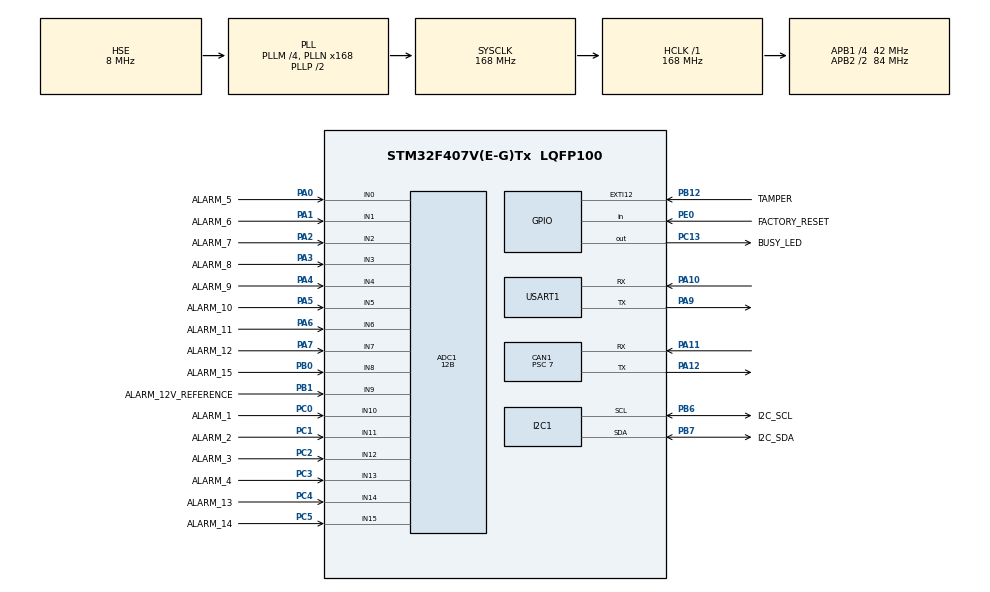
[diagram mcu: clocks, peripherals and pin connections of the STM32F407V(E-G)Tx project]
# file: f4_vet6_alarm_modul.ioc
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ADC1.Channel-0\#ChannelRegularConversion=ADC_CHANNEL_9
ADC1.Channel-1\#ChannelRegularConversion=ADC_CHANNEL_10
ADC1.Channel-10\#ChannelRegularConversion=ADC_CHANNEL_5
ADC1.Channel-11\#ChannelRegularConversion=ADC_CHANNEL_6
ADC1.Channel-12\#ChannelRegularConversion=ADC_CHANNEL_7
ADC1.Channel-13\#ChannelRegularConversion=ADC_CHANNEL_14
ADC1.Channel-14\#ChannelRegularConversion=ADC_CHANNEL_15
ADC1.Channel-15\#ChannelRegularConversion=ADC_CHANNEL_8
ADC1.Channel-2\#ChannelRegularConversion=ADC_CHANNEL_11
ADC1.Channel-3\#ChannelRegularConversion=ADC_CHANNEL_12
ADC1.Channel-4\#ChannelRegularConversion=ADC_CHANNEL_13
ADC1.Channel-5\#ChannelRegularConversion=ADC_CHANNEL_0
ADC1.Channel-6\#ChannelRegularConversion=ADC_CHANNEL_1
ADC1.Channel-7\#ChannelRegularConversion=ADC_CHANNEL_2
ADC1.Channel-8\#ChannelRegularConversion=ADC_CHANNEL_3
ADC1.Channel-9\#ChannelRegularConversion=ADC_CHANNEL_4
ADC1.ClockPrescaler=ADC_CLOCK_SYNC_PCLK_DIV4
ADC1.ContinuousConvMode=DISABLE
ADC1.DMAContinuousRequests=ENABLE
ADC1.DataAlign=ADC_DATAALIGN_RIGHT
ADC1.DiscontinuousConvMode=DISABLE
ADC1.EOCSelection=ADC_EOC_SINGLE_CONV
ADC1.EnableAnalogWatchDog=false
ADC1.ExternalTrigConv=ADC_EXTERNALTRIGCONV_T8_TRGO
ADC1.ExternalTrigConvEdge=ADC_EXTERNALTRIGCONVEDGE_RISING
ADC1.InjNumberOfConversion=0
ADC1.NbrOfConversion=16
ADC1.NbrOfConversionFlag=1
ADC1.Rank-0\#ChannelRegularConversion=1
ADC1.Rank-1\#ChannelRegularConversion=2
ADC1.Rank-10\#ChannelRegularConversion=11
ADC1.Rank-11\#ChannelRegularConversion=12
ADC1.Rank-12\#ChannelRegularConversion=13
ADC1.Rank-13\#ChannelRegularConversion=14
ADC1.Rank-14\#ChannelRegularConversion=15
ADC1.Rank-15\#ChannelRegularConversion=16
ADC1.Rank-2\#ChannelRegularConversion=3
ADC1.Rank-3\#ChannelRegularConversion=4
ADC1.Rank-4\#ChannelRegularConversion=5
ADC1.Rank-5\#ChannelRegularConversion=6
ADC1.Rank-6\#ChannelRegularConversion=7
ADC1.Rank-7\#ChannelRegularConversion=8
ADC1.Rank-8\#ChannelRegularConversion=9
ADC1.Rank-9\#ChannelRegularConversion=10
ADC1.Resolution=ADC_RESOLUTION_12B
ADC1.SamplingTime-0\#ChannelRegularConversion=ADC_SAMPLETIME_84CYCLES
ADC1.SamplingTime-1\#ChannelRegularConversion=ADC_SAMPLETIME_84CYCLES
ADC1.SamplingTime-10\#ChannelRegularConversion=ADC_SAMPLETIME_84CYCLES
ADC1.SamplingTime-11\#ChannelRegularConversion=ADC_SAMPLETIME_84CYCLES
ADC1.SamplingTime-12\#ChannelRegularConversion=ADC_SAMPLETIME_84CYCLES
ADC1.SamplingTime-13\#ChannelRegularConversion=ADC_SAMPLETIME_84CYCLES
ADC1.SamplingTime-14\#ChannelRegularConversion=ADC_SAMPLETIME_84CYCLES
ADC1.SamplingTime-15\#ChannelRegularConversion=ADC_SAMPLETIME_84CYCLES
ADC1.SamplingTime-2\#ChannelRegularConversion=ADC_SAMPLETIME_84CYCLES
ADC1.SamplingTime-3\#ChannelRegularConversion=ADC_SAMPLETIME_84CYCLES
ADC1.SamplingTime-4\#ChannelRegularConversion=ADC_SAMPLETIME_84CYCLES
ADC1.SamplingTime-5\#ChannelRegularConversion=ADC_SAMPLETIME_84CYCLES
ADC1.SamplingTime-6\#ChannelRegularConversion=ADC_SAMPLETIME_84CYCLES
ADC1.SamplingTime-7\#ChannelRegularConversion=ADC_SAMPLETIME_84CYCLES
ADC1.SamplingTime-8\#ChannelRegularConversion=ADC_SAMPLETIME_84CYCLES
ADC1.SamplingTime-9\#ChannelRegularConversion=ADC_SAMPLETIME_84CYCLES
ADC1.ScanConvMode=ENABLE
ADC1.master=1
CAN1.BS1=CAN_BS1_10TQ
CAN1.BS2=CAN_BS2_1TQ
CAN1.CalculateBaudRate=500000
CAN1.CalculateTimeBit=1999.99
CAN1.CalculateTimeQuantum=166.66666666666669
CAN1.Prescaler=7
Dma.ADC1.0.Direction=DMA_PERIPH_TO_MEMORY
Dma.ADC1.0.FIFOMode=DMA_FIFOMODE_DISABLE
Dma.ADC1.0.Instance=DMA2_Stream0
Dma.ADC1.0.MemDataAlignment=DMA_MDATAALIGN_HALFWORD
Dma.ADC1.0.MemInc=DMA_MINC_ENABLE
Dma.ADC1.0.Mode=DMA_CIRCULAR
Dma.ADC1.0.PeriphDataAlignment=DMA_PDATAALIGN_HALFWORD
Dma.ADC1.0.PeriphInc=DMA_PINC_DISABLE
Dma.ADC1.0.Priority=DMA_PRIORITY_HIGH
Dma.Request0=ADC1
FREERTOS.Queues01=CAN_SEND_QUEUE,40,CAN_OBJECT*,0,Dynamic,NULL,NULL;CAN_RECEIVE_QUEUE,40,RECEIVED_CAN_OBJECT,0,Dynamic,NULL,NULL
FREERTOS.Tasks01=canSendTask,2,128,StartCanSendTask,Default,NULL,Dynamic,NULL,NULL;adcTask,-3,128,StartAdcTask,Default,NULL,Dynamic,NULL,NULL;canReceiveTask,0,128,StartCanReceiveTask,Default,NULL,Dynamic,NULL,NULL;initTask,3,128,StartInitTask,Default,NULL,Dynamic,NULL,NULL;heartbeatTask,-3,128,StartHeartbeatTask,Default,NULL,Dynamic,NULL,NULL;tamperTask,-3,128,StartTamperTask,Default,NULL,Dynamic,NULL,NULL
FREERTOS.configTOTAL_HEAP_SIZE=25600
FREERTOS.configUSE_COUNTING_SEMAPHORES=1
FREERTOS.configUSE_TICKLESS_IDLE=1
Mcu.Family=STM32F4
Mcu.Name=STM32F407V(E-G)Tx
Mcu.Package=LQFP100
NVIC.ADC_IRQn=true\:5\:0\:false\:false\:true\:true\:true\:true
NVIC.CAN1_RX0_IRQn=true\:5\:0\:false\:false\:true\:true\:true\:true
NVIC.CAN1_TX_IRQn=true\:5\:0\:false\:false\:true\:true\:true\:true
NVIC.DMA2_Stream0_IRQn=true\:5\:0\:false\:false\:true\:true\:true\:true
NVIC.EXTI15_10_IRQn=true\:5\:0\:false\:false\:true\:true\:true\:true
NVIC.PriorityGroup=NVIC_PRIORITYGROUP_4
NVIC.TIM1_UP_TIM10_IRQn=true\:0\:0\:false\:false\:true\:false\:true\:true
NVIC.TimeBase=TIM1_UP_TIM10_IRQn
NVIC.TimeBaseIP=TIM1
PA0-WKUP.GPIO_Label=ALARM_5
PA0-WKUP.Signal=ADCx_IN0
PA1.GPIO_Label=ALARM_6
PA1.Signal=ADCx_IN1
PA10.Mode=Asynchronous
PA10.Signal=USART1_RX
PA11.Mode=CAN_Activate
PA11.Signal=CAN1_RX
PA12.Mode=CAN_Activate
PA12.Signal=CAN1_TX
PA13.Mode=Serial_Wire
PA13.Signal=SYS_JTMS-SWDIO
PA14.Mode=Serial_Wire
PA14.Signal=SYS_JTCK-SWCLK
PA2.GPIO_Label=ALARM_7
PA2.Signal=ADCx_IN2
PA3.GPIO_Label=ALARM_8
PA3.Signal=ADCx_IN3
PA4.GPIO_Label=ALARM_9
PA4.Signal=ADCx_IN4
PA5.GPIO_Label=ALARM_10
PA5.Signal=ADCx_IN5
PA6.GPIO_Label=ALARM_11
PA6.Signal=ADCx_IN6
PA7.GPIO_Label=ALARM_12
PA7.Signal=ADCx_IN7
PA9.Mode=Asynchronous
PA9.Signal=USART1_TX
PB0.GPIO_Label=ALARM_15
PB0.Signal=ADCx_IN8
PB1.GPIO_Label=ALARM_12V_REFERENCE
PB1.Signal=ADCx_IN9
PB12.GPIO_Label=TAMPER
PB12.GPIO_ModeDefaultEXTI=GPIO_MODE_IT_FALLING
PB12.Signal=GPXTI12
PB6.GPIO_Label=I2C_SCL
PB6.Mode=I2C
PB6.Signal=I2C1_SCL
PB7.GPIO_Label=I2C_SDA
PB7.Mode=I2C
PB7.Signal=I2C1_SDA
PC0.GPIO_Label=ALARM_1
PC0.Signal=ADCx_IN10
PC1.GPIO_Label=ALARM_2
PC1.Signal=ADCx_IN11
PC13-ANTI_TAMP.GPIO_Label=BUSY_LED
PC13-ANTI_TAMP.Signal=GPIO_Output
PC2.GPIO_Label=ALARM_3
PC2.Signal=ADCx_IN12
PC3.GPIO_Label=ALARM_4
PC3.Signal=ADCx_IN13
PC4.GPIO_Label=ALARM_13
PC4.Signal=ADCx_IN14
PC5.GPIO_Label=ALARM_14
PC5.Signal=ADCx_IN15
PE0.GPIO_Label=FACTORY_RESET
PE0.Signal=GPIO_Input
PH0-OSC_IN.Mode=HSE-External-Oscillator
PH0-OSC_IN.Signal=RCC_OSC_IN
PH1-OSC_OUT.Mode=HSE-External-Oscillator
PH1-OSC_OUT.Signal=RCC_OSC_OUT
ProjectManager.HeapSize=0x200
ProjectManager.StackSize=0x400
ProjectManager.TargetToolchain=STM32CubeIDE
RCC.48MHZClocksFreq_Value=84000000
RCC.AHBFreq_Value=168000000
RCC.APB1CLKDivider=RCC_HCLK_DIV4
RCC.APB1Freq_Value=42000000
RCC.APB1TimFreq_Value=84000000
RCC.APB2CLKDivider=RCC_HCLK_DIV2
RCC.APB2Freq_Value=84000000
RCC.APB2TimFreq_Value=168000000
RCC.CortexFreq_Value=168000000
RCC.HCLKFreq_Value=168000000
RCC.HSE_VALUE=8000000
RCC.HSI_VALUE=16000000
RCC.LSE_VALUE=32768
RCC.PLLM=4
RCC.PLLN=168
RCC.PLLSourceVirtual=RCC_PLLSOURCE_HSE
RCC.RCC_RTC_Clock_Source=RCC_RTCCLKSOURCE_LSE
RCC.RCC_RTC_Clock_SourceVirtual=RCC_RTCCLKSOURCE_LSE
RCC.SYSCLKFreq_VALUE=168000000
RCC.SYSCLKSource=RCC_SYSCLKSOURCE_PLLCLK
RCC.VCOOutputFreq_Value=336000000
SH.ADCx_IN0.0=ADC1_IN0,IN0
SH.ADCx_IN1.0=ADC1_IN1,IN1
SH.ADCx_IN10.0=ADC1_IN10,IN10
SH.ADCx_IN11.0=ADC1_IN11,IN11
SH.ADCx_IN12.0=ADC1_IN12,IN12
SH.ADCx_IN13.0=ADC1_IN13,IN13
SH.ADCx_IN14.0=ADC1_IN14,IN14
SH.ADCx_IN15.0=ADC1_IN15,IN15
SH.ADCx_IN2.0=ADC1_IN2,IN2
SH.ADCx_IN3.0=ADC1_IN3,IN3
SH.ADCx_IN4.0=ADC1_IN4,IN4
SH.ADCx_IN5.0=ADC1_IN5,IN5
SH.ADCx_IN6.0=ADC1_IN6,IN6
SH.ADCx_IN7.0=ADC1_IN7,IN7
SH.ADCx_IN8.0=ADC1_IN8,IN8
SH.ADCx_IN9.0=ADC1_IN9,IN9
TIM8.Period=1050-1
TIM8.Prescaler=40000-1
TIM8.TIM_MasterOutputTrigger=TIM_TRGO_UPDATE
USART1.VirtualMode=VM_ASYNC
VP_FREERTOS_VS_CMSIS_V1.Mode=CMSIS_V1
VP_SYS_VS_tim1.Mode=TIM1
VP_TIM8_VS_ClockSourceINT.Mode=Internal
board=f4_vet6_alarm_modul

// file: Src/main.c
/* USER CODE BEGIN Header */
/**
  ******************************************************************************
  * @file           : main.c
  * @brief          : Main program body
  ******************************************************************************
  * @attention
  *
  * <h2><center>&copy; Copyright (c) 2020 STMicroelectronics.
  * All rights reserved.</center></h2>
  *
  * This software component is licensed by ST under Ultimate Liberty license
  * SLA0044, the "License"; You may not use this file except in compliance with
  * the License. You may obtain a copy of the License at:
  *                             www.st.com/SLA0044
  *
  ******************************************************************************
  */
/* USER CODE END Header */
#include "main.h"
#include "cmsis_os.h"
#include "adc.h"
#include "can.h"
#include "dma.h"
#include "i2c.h"
#include "tim.h"
#include "usart.h"
#include "gpio.h"

/* USER CODE BEGIN PV */
/* Private variables ---------------------------------------------------------*/

/* USER CODE END PV */

void SystemClock_Config(void);
void MX_FREERTOS_Init(void);
/* USER CODE BEGIN PFP */
/* Private function prototypes -----------------------------------------------*/

/* USER CODE END PFP */

int main(void)
{

  /* MCU Configuration--------------------------------------------------------*/

  /* Reset of all peripherals, Initializes the Flash interface and the Systick. */
  HAL_Init();

  /* Configure the system clock */
  SystemClock_Config();

  /* Initialize all configured peripherals */
  MX_GPIO_Init();
  MX_DMA_Init();
  MX_ADC1_Init();
  MX_CAN1_Init();
  MX_I2C1_Init();
  MX_TIM8_Init();
  MX_USART1_UART_Init();

  /* Call init function for freertos objects (in freertos.c) */
  MX_FREERTOS_Init();
  /* Start scheduler */
  osKernelStart();

  /* We should never get here as control is now taken by the scheduler */
  /* Infinite loop */
  while (1)
  {

  }
}

void SystemClock_Config(void)
{
  RCC_OscInitTypeDef RCC_OscInitStruct = {0};
  RCC_ClkInitTypeDef RCC_ClkInitStruct = {0};

  /** Configure the main internal regulator output voltage
  */
  __HAL_RCC_PWR_CLK_ENABLE();
  __HAL_PWR_VOLTAGESCALING_CONFIG(PWR_REGULATOR_VOLTAGE_SCALE1);
  /** Initializes the RCC Oscillators according to the specified parameters
  * in the RCC_OscInitTypeDef structure.
  */
  RCC_OscInitStruct.OscillatorType = RCC_OSCILLATORTYPE_HSE;
  RCC_OscInitStruct.HSEState = RCC_HSE_ON;
  RCC_OscInitStruct.PLL.PLLState = RCC_PLL_ON;
  RCC_OscInitStruct.PLL.PLLSource = RCC_PLLSOURCE_HSE;
  RCC_OscInitStruct.PLL.PLLM = 4;
  RCC_OscInitStruct.PLL.PLLN = 168;
  RCC_OscInitStruct.PLL.PLLP = RCC_PLLP_DIV2;
  RCC_OscInitStruct.PLL.PLLQ = 4;
  if (HAL_RCC_OscConfig(&RCC_OscInitStruct) != HAL_OK)
  {
    Error_Handler();
  }
  /** Initializes the CPU, AHB and APB buses clocks
  */
  RCC_ClkInitStruct.ClockType = RCC_CLOCKTYPE_HCLK|RCC_CLOCKTYPE_SYSCLK
                              |RCC_CLOCKTYPE_PCLK1|RCC_CLOCKTYPE_PCLK2;
  RCC_ClkInitStruct.SYSCLKSource = RCC_SYSCLKSOURCE_PLLCLK;
  RCC_ClkInitStruct.AHBCLKDivider = RCC_SYSCLK_DIV1;
  RCC_ClkInitStruct.APB1CLKDivider = RCC_HCLK_DIV4;
  RCC_ClkInitStruct.APB2CLKDivider = RCC_HCLK_DIV2;

  if (HAL_RCC_ClockConfig(&RCC_ClkInitStruct, FLASH_LATENCY_5) != HAL_OK)
  {
    Error_Handler();
  }
}

 /**
  * @brief  Period elapsed callback in non blocking mode
  * @note   This function is called  when TIM1 interrupt took place, inside
  * HAL_TIM_IRQHandler(). It makes a direct call to HAL_IncTick() to increment
  * a global variable "uwTick" used as application time base.
  * @param  htim : TIM handle
  * @retval None
  */
void HAL_TIM_PeriodElapsedCallback(TIM_HandleTypeDef *htim)
{
  if (htim->Instance == TIM1) {
    HAL_IncTick();
  }
}

void Error_Handler(void)
{
  while(1)
  {
  }
}

/************************ (C) COPYRIGHT STMicroelectronics *****END OF FILE****/

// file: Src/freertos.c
/* USER CODE BEGIN Header */
/**
 ******************************************************************************
 * File Name          : freertos.c
 * Description        : Code for freertos applications
 ******************************************************************************
 * @attention
 *
 * <h2><center>&copy; Copyright (c) 2020 STMicroelectronics.
 * All rights reserved.</center></h2>
 *
 * This software component is licensed by ST under Ultimate Liberty license
 * SLA0044, the "License"; You may not use this file except in compliance with
 * the License. You may obtain a copy of the License at:
 *                             www.st.com/SLA0044
 *
 ******************************************************************************
 */
/* USER CODE END Header */

#include "FreeRTOS.h"
#include "task.h"
#include "main.h"
#include "cmsis_os.h"

/* USER CODE BEGIN Includes */

#include "can_support.h"
#include "home_log.h"
#include "switch.h"
#include "home_adc.h"
#include "eeprom.h"
#include "home_config.h"
#include "ha_auto_discovery.h"

/* USER CODE END Includes */

osThreadId canSendTaskHandle;
osThreadId adcTaskHandle;
osThreadId canReceiveTaskHandle;
osThreadId initTaskHandle;
osThreadId heartbeatTaskHandle;
osThreadId tamperTaskHandle;
osMessageQId CAN_SEND_QUEUEHandle;
osMessageQId CAN_RECEIVE_QUEUEHandle;

void StartCanSendTask(void const *argument);
void StartAdcTask(void const *argument);
void StartCanReceiveTask(void const *argument);
void StartInitTask(void const *argument);
void StartHeartbeatTask(void const *argument);
void StartTamperTask(void const *argument);

void MX_FREERTOS_Init(void); /* (MISRA C 2004 rule 8.1) */

/* GetIdleTaskMemory prototype (linked to static allocation support) */
void vApplicationGetIdleTaskMemory(StaticTask_t **ppxIdleTaskTCBBuffer, StackType_t **ppxIdleTaskStackBuffer,
		uint32_t *pulIdleTaskStackSize);

/* USER CODE BEGIN PREPOSTSLEEP */
__weak void PreSleepProcessing(uint32_t *ulExpectedIdleTime) {
	/* place for user code */
}

__weak void PostSleepProcessing(uint32_t *ulExpectedIdleTime) {
	/* place for user code */
}
/* USER CODE END PREPOSTSLEEP */

/* USER CODE BEGIN GET_IDLE_TASK_MEMORY */
static StaticTask_t xIdleTaskTCBBuffer;
static StackType_t xIdleStack[configMINIMAL_STACK_SIZE];

void vApplicationGetIdleTaskMemory(StaticTask_t **ppxIdleTaskTCBBuffer, StackType_t **ppxIdleTaskStackBuffer,
		uint32_t *pulIdleTaskStackSize) {
	*ppxIdleTaskTCBBuffer = &xIdleTaskTCBBuffer;
	*ppxIdleTaskStackBuffer = &xIdleStack[0];
	*pulIdleTaskStackSize = configMINIMAL_STACK_SIZE;
	/* place for user code */
}
/* USER CODE END GET_IDLE_TASK_MEMORY */

void MX_FREERTOS_Init(void) {

	/* Create the queue(s) */
	/* definition and creation of CAN_SEND_QUEUE */
	osMessageQDef(CAN_SEND_QUEUE, 40, CAN_OBJECT*);
	CAN_SEND_QUEUEHandle = osMessageCreate(osMessageQ(CAN_SEND_QUEUE), NULL);

	/* definition and creation of CAN_RECEIVE_QUEUE */
	osMessageQDef(CAN_RECEIVE_QUEUE, 40, RECEIVED_CAN_OBJECT);
	CAN_RECEIVE_QUEUEHandle = osMessageCreate(osMessageQ(CAN_RECEIVE_QUEUE), NULL);

	/* Create the thread(s) */
	/* definition and creation of canSendTask */
	osThreadDef(canSendTask, StartCanSendTask, osPriorityHigh, 0, 128);
	canSendTaskHandle = osThreadCreate(osThread(canSendTask), NULL);

	/* definition and creation of adcTask */
	osThreadDef(adcTask, StartAdcTask, osPriorityIdle, 0, 128);
	adcTaskHandle = osThreadCreate(osThread(adcTask), NULL);

	/* definition and creation of canReceiveTask */
	osThreadDef(canReceiveTask, StartCanReceiveTask, osPriorityNormal, 0, 128);
	canReceiveTaskHandle = osThreadCreate(osThread(canReceiveTask), NULL);

	/* definition and creation of initTask */
	osThreadDef(initTask, StartInitTask, osPriorityRealtime, 0, 128);
	initTaskHandle = osThreadCreate(osThread(initTask), NULL);

	/* definition and creation of heartbeatTask */
	osThreadDef(heartbeatTask, StartHeartbeatTask, osPriorityIdle, 0, 128);
	heartbeatTaskHandle = osThreadCreate(osThread(heartbeatTask), NULL);

	/* definition and creation of tamperTask */
	osThreadDef(tamperTask, StartTamperTask, osPriorityIdle, 0, 128);
	tamperTaskHandle = osThreadCreate(osThread(tamperTask), NULL);

}

void StartCanSendTask(void const *argument) {
	/* USER CODE BEGIN StartCanSendTask */
	xTaskNotifyWait(0x00, 0x00, NULL, portMAX_DELAY);
	//infinite loop inside
	sendCANMessageFromQueue();
	/* USER CODE END StartCanSendTask */
}

void StartAdcTask(void const *argument) {
	/* USER CODE BEGIN StartAdcTask */
	/* Infinite loop */
	xTaskNotifyWait(0x00, 0x00, NULL, portMAX_DELAY);
	initAndStartAdc();

	//infinite loop inside
	processAdc();
	/* USER CODE END StartAdcTask */
}

void StartCanReceiveTask(void const *argument) {
	/* USER CODE BEGIN StartCanReceiveTask */
	xTaskNotifyWait(0x00, 0x00, NULL, portMAX_DELAY);
	//infinite loop inside
	receiveCANMessageFromQueue();
	/* USER CODE END StartCanReceiveTask */
}

void StartInitTask(void const *argument) {
	/* USER CODE BEGIN StartInitTask */
	portDISABLE_INTERRUPTS();

	checkAndDoFactoryResetIfNeeded();

	readConfigOnStartup();

	if (homeConfig.deviceId == 0x0000 || homeConfig.deviceId == 0xFFFF) {
		homeConfig.listenForDeviceIdMode = 1;
	}

	if (initCan(CAN_SEND_QUEUEHandle, CAN_RECEIVE_QUEUEHandle) != HAL_OK) {
		home_error(CAN_INIT_FAILED);
		return;
	}

	xTaskNotify(canSendTaskHandle, 0, eNoAction);	//must be first
	xTaskNotify(canReceiveTaskHandle, 0, eNoAction);

	if (homeConfig.listenForDeviceIdMode == 0) {
		xTaskNotify(adcTaskHandle, 0, eNoAction);

		xTaskNotify(heartbeatTaskHandle, 0, eNoAction);
		xTaskNotify(tamperTaskHandle, 0, eNoAction);

		homeConfig.deviceLoaded = 1;
	}

	portENABLE_INTERRUPTS();

	publishConfigForAutoDiscovery();

	vTaskDelete(NULL);

	/* USER CODE END StartInitTask */
}

void StartHeartbeatTask(void const *argument) {
	/* USER CODE BEGIN StartHeartbeatTask */
	xTaskNotifyWait(0x00, 0x00, NULL, portMAX_DELAY);
	if (homeConfig.heartbeat != 0) {
		uint8_t heartbeat = { 0 };
		for (;;) {
			HAL_GPIO_TogglePin(BUSY_LED_GPIO_Port, BUSY_LED_Pin);

			putCanMessageToQueue(ALARM_CONTROLLER_HEARTBEAT, &heartbeat, 1, CAN_RTR_DATA);
			osDelay(30000);
		}
	}

	vTaskDelete(NULL);
	/* USER CODE END StartHeartbeatTask */
}

void StartTamperTask(void const *argument) {
	/* USER CODE BEGIN StartTamperTask */
	/* Infinite loop */
	xTaskNotifyWait(0x00, 0x00, NULL, portMAX_DELAY);
	initTamper();
	processTamperEvents();
	/* USER CODE END StartTamperTask */
}

/************************ (C) COPYRIGHT STMicroelectronics *****END OF FILE****/
